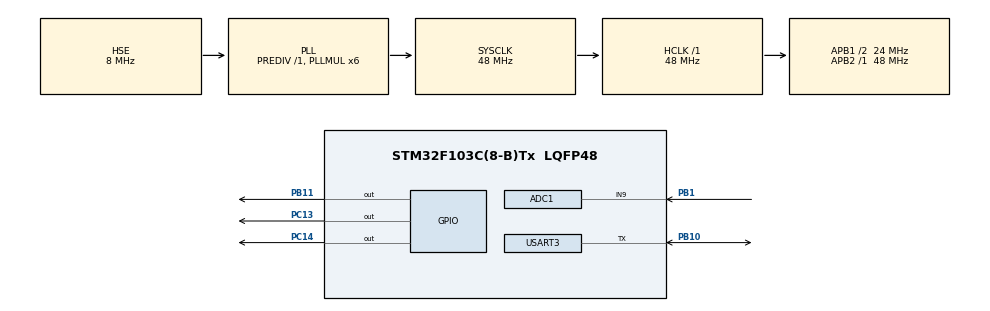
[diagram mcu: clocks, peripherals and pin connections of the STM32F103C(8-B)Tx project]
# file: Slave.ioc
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ADC1.Channel-0\#ChannelRegularConversion=ADC_CHANNEL_9
ADC1.NbrOfConversionFlag=1
ADC1.Rank-0\#ChannelRegularConversion=1
ADC1.SamplingTime-0\#ChannelRegularConversion=ADC_SAMPLETIME_1CYCLE_5
ADC1.master=1
Mcu.Family=STM32F1
Mcu.Name=STM32F103C(8-B)Tx
Mcu.Package=LQFP48
NVIC.PriorityGroup=NVIC_PRIORITYGROUP_4
NVIC.USART3_IRQn=true\:0\:0\:false\:false\:true\:true\:true
PA13.Mode=Serial_Wire
PA13.Signal=SYS_JTMS-SWDIO
PA14.Mode=Serial_Wire
PA14.Signal=SYS_JTCK-SWCLK
PB1.Signal=ADCx_IN9
PB10.Mode=Half_duplex(single_wire_mode)
PB10.Signal=USART3_TX
PB11.Signal=GPIO_Output
PC13-TAMPER-RTC.Signal=GPIO_Output
PC14-OSC32_IN.Signal=GPIO_Output
PD0-OSC_IN.Mode=HSE-External-Oscillator
PD0-OSC_IN.Signal=RCC_OSC_IN
PD1-OSC_OUT.Mode=HSE-External-Oscillator
PD1-OSC_OUT.Signal=RCC_OSC_OUT
ProjectManager.HeapSize=0x200
ProjectManager.StackSize=0x400
ProjectManager.TargetToolchain=STM32CubeIDE
RCC.ADCPresc=RCC_ADCPCLK2_DIV4
RCC.AHBFreq_Value=48000000
RCC.APB1CLKDivider=RCC_HCLK_DIV2
RCC.APB1Freq_Value=24000000
RCC.APB1TimFreq_Value=48000000
RCC.APB2Freq_Value=48000000
RCC.APB2TimFreq_Value=48000000
RCC.HCLKFreq_Value=48000000
RCC.PLLMUL=RCC_PLL_MUL6
RCC.PLLSourceVirtual=RCC_PLLSOURCE_HSE
RCC.SYSCLKFreq_VALUE=48000000
RCC.SYSCLKSource=RCC_SYSCLKSOURCE_PLLCLK
RCC.USBFreq_Value=48000000
SH.ADCx_IN9.0=ADC1_IN9,IN9
USART3.BaudRate=19200
USART3.VirtualMode=VM_ASYNC
VP_CRC_VS_CRC.Mode=CRC_Activate
board=custom

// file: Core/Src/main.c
/* USER CODE BEGIN Header */
/**
  ******************************************************************************
  * @file           : main.c
  * @brief          : Main program body
  ******************************************************************************
  * @attention
  *
  * <h2><center>&copy; Copyright (c) 2020 STMicroelectronics.
  * All rights reserved.</center></h2>
  *
  * This software component is licensed by ST under BSD 3-Clause license,
  * the "License"; You may not use this file except in compliance with the
  * License. You may obtain a copy of the License at:
  *                        opensource.org/licenses/BSD-3-Clause
  *
  ******************************************************************************
  */
/* USER CODE END Header */
#include "main.h"

/* USER CODE BEGIN PTD */
enum States{INITIAL, IDLE, ARMED};
/* USER CODE END PTD */

ADC_HandleTypeDef hadc1;

CRC_HandleTypeDef hcrc;

UART_HandleTypeDef huart3;

/* USER CODE BEGIN PV */
int state = INITIAL;
uint8_t UART1_rxBuffer[sizeof(struct CrcPacket)] = {0};
uint16_t adcVal = 0;
struct CrcPacket recv_message;
int recv_flag = 0;
struct Packet sendDat = {0xAA,0,0,333};
uint16_t address = 0;
uint32_t adc_timestamp = 0;

/* USER CODE END PV */

void SystemClock_Config(void);
static void MX_GPIO_Init(void);
static void MX_CRC_Init(void);
static void MX_ADC1_Init(void);
static void MX_USART3_UART_Init(void);
/* USER CODE BEGIN PFP */
void sendPacket();
int crcCheck();
/* USER CODE END PFP */

/* USER CODE BEGIN 0 */

//Flags
/* USER CODE END 0 */

int main(void)
{
  /* USER CODE BEGIN 1 */
for(int i = 0; i <(sizeof(struct CrcPacket)); i++){
	UART1_rxBuffer[i] = 222;
}
  /* USER CODE END 1 */

  /* MCU Configuration--------------------------------------------------------*/

  /* Reset of all peripherals, Initializes the Flash interface and the Systick. */
  HAL_Init();

  /* Configure the system clock */
  SystemClock_Config();

  /* Initialize all configured peripherals */
  MX_GPIO_Init();
  MX_CRC_Init();
  MX_ADC1_Init();
  MX_USART3_UART_Init();
  /* USER CODE BEGIN 2 */
  HAL_HalfDuplex_Init(&huart3);
  __HAL_UART_ENABLE_IT(&huart3, UART_IT_RXNE);
  HAL_HalfDuplex_EnableReceiver(&huart3);
  HAL_GPIO_WritePin(GPIOC, GPIO_PIN_13, 1);
  HAL_GPIO_WritePin(GPIOC, GPIO_PIN_14, 1);

  /* USER CODE END 2 */

  /* Infinite loop */
  /* USER CODE BEGIN WHILE */
  while (1)
  {
	  switch(state){
	  case INITIAL:
		  if(recv_flag){
			  if((address==0)&&(recv_message.data.payload==322)){
				  address = recv_message.data.receiverAddress;
				  sendDat.payload = recv_message.data.payload;
				  recv_flag = 0;
				  sendDat.receiverAddress = address + 1;
				  sendDat.senderAddress = address;
				  HAL_GPIO_WritePin(GPIOB, GPIO_PIN_11, 1);
				  HAL_GPIO_WritePin(GPIOC, GPIO_PIN_14, 0);
				  HAL_Delay(200);
				  sendPacket(sendDat);
				  state = IDLE;
			  }
		  }

		  break;
	  case IDLE:
		  if(recv_flag){
			  HAL_GPIO_TogglePin(GPIOC, GPIO_PIN_13);
			  if(recv_message.data.receiverAddress==address){
				  sendDat.receiverAddress = 1;
				  sendDat.senderAddress = address;
				  sendDat.payload = adcVal;
				  sendPacket(sendDat);
				  HAL_GPIO_TogglePin(GPIOC, GPIO_PIN_14);
			  }
			  recv_flag = 0;
		  }
		  if((HAL_GetTick()-adc_timestamp)>500){
			  HAL_ADC_Start(&hadc1);
			  HAL_ADC_PollForConversion(&hadc1, HAL_MAX_DELAY);
			  adcVal = HAL_ADC_GetValue(&hadc1);
			  adc_timestamp = HAL_GetTick();
		  }
		  break;
	  case ARMED:
	  	  break;
	  default: break;
	  }
    /* USER CODE END WHILE */

  }
}

void SystemClock_Config(void)
{
  RCC_OscInitTypeDef RCC_OscInitStruct = {0};
  RCC_ClkInitTypeDef RCC_ClkInitStruct = {0};
  RCC_PeriphCLKInitTypeDef PeriphClkInit = {0};

  /** Initializes the RCC Oscillators according to the specified parameters
  * in the RCC_OscInitTypeDef structure.
  */
  RCC_OscInitStruct.OscillatorType = RCC_OSCILLATORTYPE_HSE;
  RCC_OscInitStruct.HSEState = RCC_HSE_ON;
  RCC_OscInitStruct.HSEPredivValue = RCC_HSE_PREDIV_DIV1;
  RCC_OscInitStruct.HSIState = RCC_HSI_ON;
  RCC_OscInitStruct.PLL.PLLState = RCC_PLL_ON;
  RCC_OscInitStruct.PLL.PLLSource = RCC_PLLSOURCE_HSE;
  RCC_OscInitStruct.PLL.PLLMUL = RCC_PLL_MUL6;
  if (HAL_RCC_OscConfig(&RCC_OscInitStruct) != HAL_OK)
  {
    Error_Handler();
  }
  /** Initializes the CPU, AHB and APB buses clocks
  */
  RCC_ClkInitStruct.ClockType = RCC_CLOCKTYPE_HCLK|RCC_CLOCKTYPE_SYSCLK
                              |RCC_CLOCKTYPE_PCLK1|RCC_CLOCKTYPE_PCLK2;
  RCC_ClkInitStruct.SYSCLKSource = RCC_SYSCLKSOURCE_PLLCLK;
  RCC_ClkInitStruct.AHBCLKDivider = RCC_SYSCLK_DIV1;
  RCC_ClkInitStruct.APB1CLKDivider = RCC_HCLK_DIV2;
  RCC_ClkInitStruct.APB2CLKDivider = RCC_HCLK_DIV1;

  if (HAL_RCC_ClockConfig(&RCC_ClkInitStruct, FLASH_LATENCY_1) != HAL_OK)
  {
    Error_Handler();
  }
  PeriphClkInit.PeriphClockSelection = RCC_PERIPHCLK_ADC;
  PeriphClkInit.AdcClockSelection = RCC_ADCPCLK2_DIV4;
  if (HAL_RCCEx_PeriphCLKConfig(&PeriphClkInit) != HAL_OK)
  {
    Error_Handler();
  }
}

static void MX_ADC1_Init(void)
{

  ADC_ChannelConfTypeDef sConfig = {0};

  /** Common config
  */
  hadc1.Instance = ADC1;
  hadc1.Init.ScanConvMode = ADC_SCAN_DISABLE;
  hadc1.Init.ContinuousConvMode = DISABLE;
  hadc1.Init.DiscontinuousConvMode = DISABLE;
  hadc1.Init.ExternalTrigConv = ADC_SOFTWARE_START;
  hadc1.Init.DataAlign = ADC_DATAALIGN_RIGHT;
  hadc1.Init.NbrOfConversion = 1;
  if (HAL_ADC_Init(&hadc1) != HAL_OK)
  {
    Error_Handler();
  }
  /** Configure Regular Channel
  */
  sConfig.Channel = ADC_CHANNEL_9;
  sConfig.Rank = ADC_REGULAR_RANK_1;
  sConfig.SamplingTime = ADC_SAMPLETIME_1CYCLE_5;
  if (HAL_ADC_ConfigChannel(&hadc1, &sConfig) != HAL_OK)
  {
    Error_Handler();
  }

}

static void MX_CRC_Init(void)
{

  hcrc.Instance = CRC;
  if (HAL_CRC_Init(&hcrc) != HAL_OK)
  {
    Error_Handler();
  }

}

static void MX_USART3_UART_Init(void)
{

  huart3.Instance = USART3;
  huart3.Init.BaudRate = 19200;
  huart3.Init.WordLength = UART_WORDLENGTH_8B;
  huart3.Init.StopBits = UART_STOPBITS_1;
  huart3.Init.Parity = UART_PARITY_NONE;
  huart3.Init.Mode = UART_MODE_TX_RX;
  huart3.Init.HwFlowCtl = UART_HWCONTROL_NONE;
  huart3.Init.OverSampling = UART_OVERSAMPLING_16;
  if (HAL_HalfDuplex_Init(&huart3) != HAL_OK)
  {
    Error_Handler();
  }

}

static void MX_GPIO_Init(void)
{
  GPIO_InitTypeDef GPIO_InitStruct = {0};

  /* GPIO Ports Clock Enable */
  __HAL_RCC_GPIOC_CLK_ENABLE();
  __HAL_RCC_GPIOD_CLK_ENABLE();
  __HAL_RCC_GPIOB_CLK_ENABLE();
  __HAL_RCC_GPIOA_CLK_ENABLE();

  /*Configure GPIO pin Output Level */
  HAL_GPIO_WritePin(GPIOC, GPIO_PIN_13|GPIO_PIN_14, GPIO_PIN_RESET);

  /*Configure GPIO pin Output Level */
  HAL_GPIO_WritePin(GPIOB, GPIO_PIN_11, GPIO_PIN_RESET);

  /*Configure GPIO pins : PC13 PC14 */
  GPIO_InitStruct.Pin = GPIO_PIN_13|GPIO_PIN_14;
  GPIO_InitStruct.Mode = GPIO_MODE_OUTPUT_PP;
  GPIO_InitStruct.Pull = GPIO_NOPULL;
  GPIO_InitStruct.Speed = GPIO_SPEED_FREQ_LOW;
  HAL_GPIO_Init(GPIOC, &GPIO_InitStruct);

  /*Configure GPIO pin : PB11 */
  GPIO_InitStruct.Pin = GPIO_PIN_11;
  GPIO_InitStruct.Mode = GPIO_MODE_OUTPUT_PP;
  GPIO_InitStruct.Pull = GPIO_NOPULL;
  GPIO_InitStruct.Speed = GPIO_SPEED_FREQ_LOW;
  HAL_GPIO_Init(GPIOB, &GPIO_InitStruct);

}

/* USER CODE BEGIN 4 */

void sendPacket(struct Packet p){
	struct CrcPacket msg = {p, HAL_CRC_Calculate(&hcrc, (uint32_t*) &p, sizeof(p)/4)};
	HAL_HalfDuplex_EnableTransmitter(&huart3);
	HAL_UART_Transmit(&huart3,(uint8_t*) &msg , sizeof(msg), 100);
	HAL_HalfDuplex_EnableReceiver(&huart3);
	HAL_GPIO_TogglePin(GPIOC, GPIO_PIN_13);

}
int crcCheck(struct CrcPacket p){
	int res = 0;
	if(p.crcVal==HAL_CRC_Calculate(&hcrc, (uint32_t*)&p.data, sizeof(p.data)/4)){
		res = 1;
	}
	return res;
}
/* USER CODE END 4 */

void Error_Handler(void)
{
}

/************************ (C) COPYRIGHT STMicroelectronics *****END OF FILE****/
